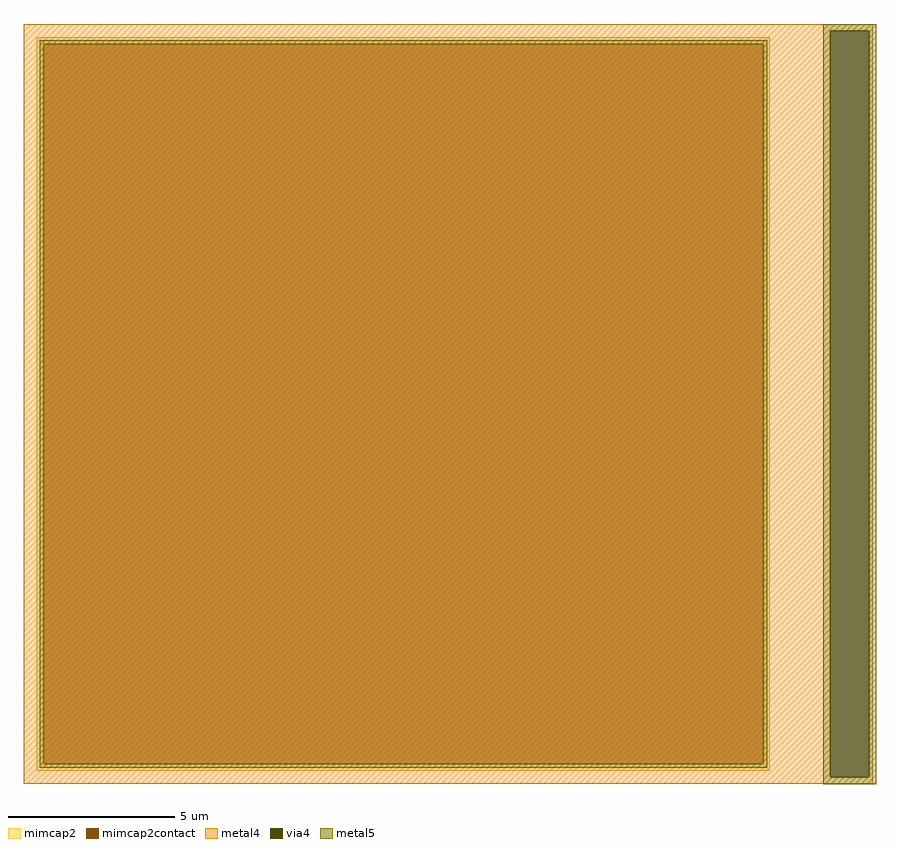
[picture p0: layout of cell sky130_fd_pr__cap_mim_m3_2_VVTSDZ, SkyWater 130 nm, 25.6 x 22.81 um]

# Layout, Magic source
magic
tech sky130A
magscale 1 2
<< metal4 >>
rect -2549 2239 2549 2280
rect -2549 -2239 2293 2239
rect 2529 -2239 2549 2239
rect -2549 -2280 2549 -2239
<< via4 >>
rect 2293 -2239 2529 2239
<< mimcap2 >>
rect -2469 2160 1931 2200
rect -2469 -2160 -2429 2160
rect 1891 -2160 1931 2160
rect -2469 -2200 1931 -2160
<< mimcap2contact >>
rect -2429 -2160 1891 2160
<< metal5 >>
rect 2251 2239 2571 2281
rect -2453 2160 1915 2184
rect -2453 -2160 -2429 2160
rect 1891 -2160 1915 2160
rect -2453 -2184 1915 -2160
rect 2251 -2239 2293 2239
rect 2529 -2239 2571 2239
rect 2251 -2281 2571 -2239
<< properties >>
string FIXED_BBOX -2549 -2280 2011 2280
string gencell sky130_fd_pr__cap_mim_m3_2
string library sky130
string parameters w 22 l 22 val 984.72 carea 2.00 cperi 0.19 nx 1 ny 1 dummy 0 square 0 lmin 2.00 wmin 2.00 lmax 30.0 wmax 30.0 dc 0 bconnect 1 tconnect 1 ccov 100
<< end >>
